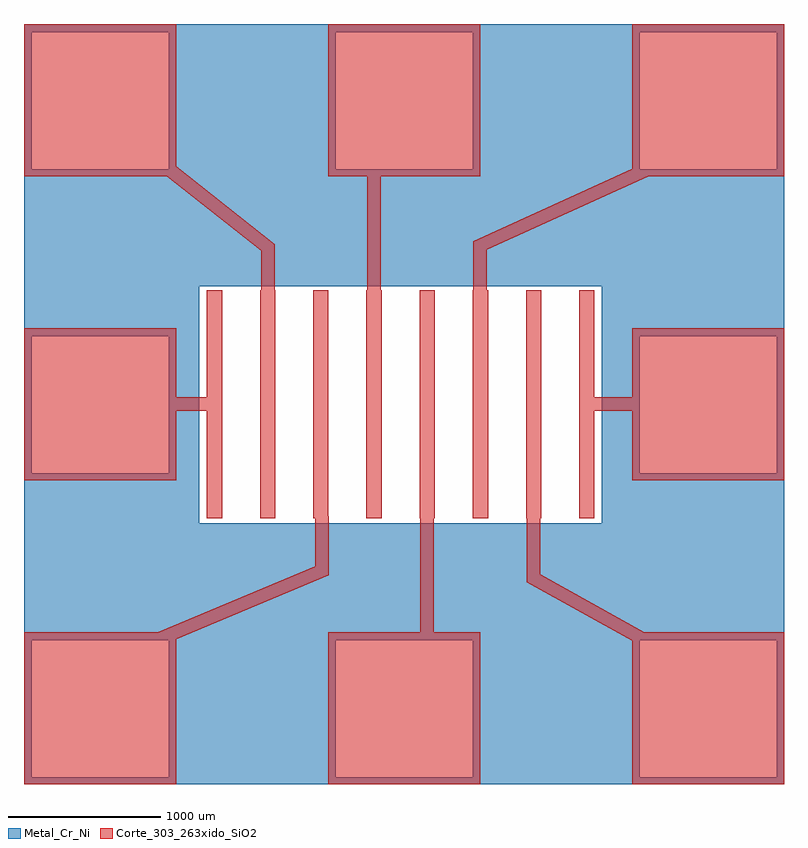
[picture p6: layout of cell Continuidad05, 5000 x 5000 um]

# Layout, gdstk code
import gdstk
lib = gdstk.Library(unit=1e-6, precision=1e-06)
def P(c, l, *ps):  # polygons
    for p in ps: c.add(gdstk.Polygon(p, *l))
Corte_303_263xido_SiO2 = (1, 0)
Metal_Cr_Ni = (2, 0)

continuidad05 = lib.new_cell('Continuidad05')
P(continuidad05, Corte_303_263xido_SiO2, [(477618,-336),(477618,664),(478498,664),(479533,1098),(479533,1414),(479521,1414),(479521,2914),(479621,2914),(479621,1426),(479623,1426),(479623,1039),(478618,616),(478618,-336)],
  [(478821,1414),(478821,2119),(478618,2119),(478618,1664),(477618,1664),(477618,2664),(478618,2664),(478618,2209),(478821,2209),(478821,2914),(478921,2914),(478921,1414)],
  [(479618,-336),(479618,664),(480224,664),(480224,1414),(480221,1414),(480221,2914),(480321,2914),(480321,1414),(480314,1414),(480314,664),(480618,664),(480618,-336)],
  [(481618,-336),(481618,606),(480924,992),(480924,1414),(480921,1414),(480921,2914),(481021,2914),(481021,1414),(481014,1414),(481014,1045),(481700,664),(482618,664),(482618,-336)],
  [(481271,1414),(481271,2914),(481371,2914),(481371,2209),(481618,2209),(481618,2664),(482618,2664),(482618,1664),(481618,1664),(481618,2119),(481371,2119),(481371,1414)],
  [(479171,1414),(479171,2914),(479178,2914),(479178,3172),(478556,3664),(477618,3664),(477618,4664),(478618,4664),(478618,3729),(479268,3216),(479268,2914),(479271,2914),(479271,1414)],
  [(479871,1414),(479871,2914),(479875,2914),(479875,3664),(479618,3664),(479618,4664),(480618,4664),(480618,3664),(479965,3664),(479965,2914),(479971,2914),(479971,1414)],
  [(480571,1414),(480571,2914),(480574,2914),(480574,3236),(481618,3713),(481618,4664),(482618,4664),(482618,3664),(481727,3664),(480664,3178),(480664,2914),(480671,2914),(480671,1414)])
P(continuidad05, Metal_Cr_Ni, [(477618,-336),(477618,610),(477669,610),(477669,-290),(478569,-290),(478569,610),(479669,610),(479669,-290),(480569,-290),(480569,610),(481669,610),(481669,-290),(482569,-290),(482569,610),(477618,610),(477618,2610),(477669,2610),(477669,1710),(478569,1710),(478569,2610),(477618,2610),(477618,2940),(478772,2940),(478772,1381),(481418,1381),(481418,2610),(481669,2610),(481669,1710),(482569,1710),(482569,2610),(481418,2610),(481418,2940),(477618,2940),(477618,4610),(477669,4610),(477669,3710),(478569,3710),(478569,4610),(479669,4610),(479669,3710),(480569,3710),(480569,4610),(481669,4610),(481669,3710),(482569,3710),(482569,4610),(477618,4610),(477618,4664),(482618,4664),(482618,-336)])

lib.write_gds('Continuidad05.gds')
